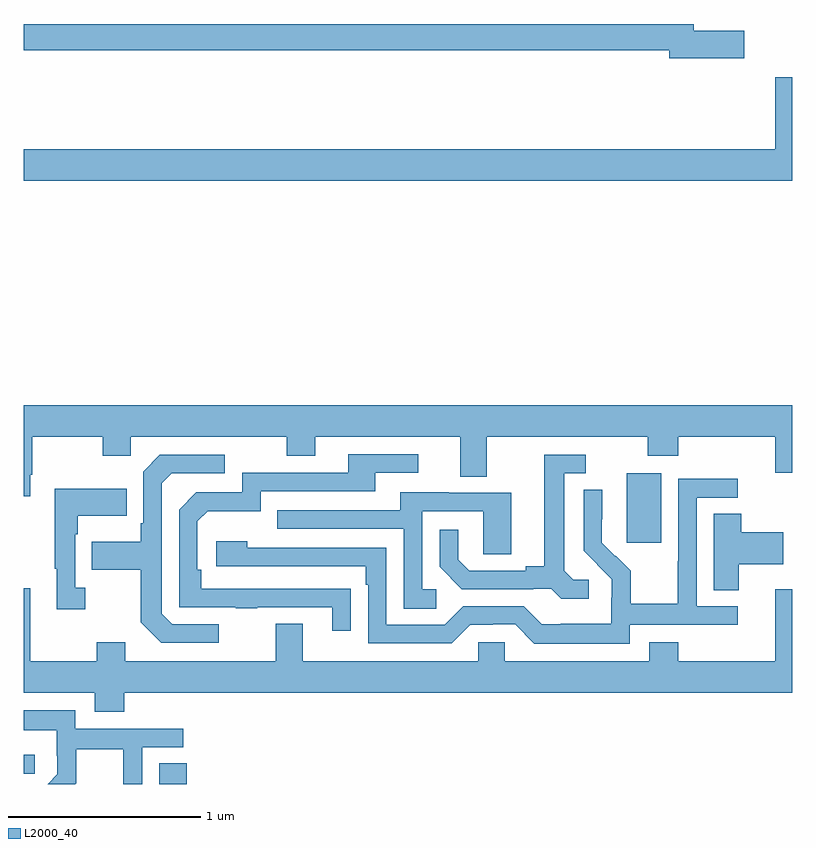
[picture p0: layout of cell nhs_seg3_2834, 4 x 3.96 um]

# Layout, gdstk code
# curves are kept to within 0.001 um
import gdstk
lib = gdstk.Library(unit=1e-6, precision=1e-09)
def R(c, l, rs):  # rectangles x0, y0, x1, y1
    for r in rs: c.add(gdstk.rectangle(r[:2], r[2:], *l))
def P(c, l, *ps):  # polygons
    for p in ps: c.add(gdstk.Polygon(p, *l))
L2000_40 = (2000, 40)

nhs_seg3_2834 = lib.new_cell('nhs_seg3_2834')
R(nhs_seg3_2834, L2000_40, [(257.705,740.4,257.849,740.507), (257,740.454,257.056,740.551), (260.138,741.657,260.317,742.018)])
P(nhs_seg3_2834, L2000_40, [(260.749,744.32),(260.488,744.32),(260.488,744.356),(257,744.356),(257,744.22),(260.36,744.22),(260.36,744.178),(260.749,744.178)],
  [(261,744.079),(260.912,744.079),(260.912,743.704),(257,743.704),(257,743.54),(261,743.54)],
  [(257.035,742.009),(257.043,742.009),(257.043,742.208),(257.41,742.208),(257.41,742.109),(257.556,742.109),(257.556,742.208),(258.37,742.208),(258.37,742.109),(258.517,742.109),(258.517,742.208),(259.271,742.208),(259.271,742),(259.411,742),(259.411,742.208),(260.248,742.208),(260.248,742.109),(260.408,742.109),(260.408,742.208),(260.912,742.208),(260.912,742.02),(261,742.02),(261,742.372),(257,742.372),(257,741.897),(257.035,741.897)],
  [(258.701,741.416),(257.924,741.417),(257.924,741.514),(257.904,741.514),(257.904,741.768),(257.957,741.821),(258.234,741.821),(258.234,741.924),(258.829,741.924),(258.829,742.02),(259.054,742.02),(259.054,742.116),(258.689,742.116),(258.689,742.02),(258.138,742.02),(258.138,741.918),(257.898,741.918),(257.808,741.828),(257.808,741.321),(258.103,741.321),(258.103,741.316),(258.215,741.316),(258.215,741.321),(258.605,741.321),(258.605,741.198),(258.701,741.198)],
  [(258.016,741.231),(257.772,741.231),(257.718,741.285),(257.718,741.966),(257.769,742.017),(258.046,742.017),(258.046,742.113),(257.709,742.113),(257.622,742.026),(257.622,741.757),(257.61,741.757),(257.61,741.661),(257.353,741.661),(257.353,741.514),(257.61,741.514),(257.61,741.241),(257.715,741.135),(258.016,741.135)],
  [(259.942,741.462),(259.86,741.462),(259.813,741.509),(259.813,742.017),(259.924,742.017),(259.924,742.113),(259.709,742.113),(259.709,741.533),(259.613,741.533),(259.613,741.51),(259.318,741.51),(259.261,741.567),(259.261,741.724),(259.164,741.724),(259.164,741.53),(259.28,741.414),(259.652,741.414),(259.652,741.417),(259.746,741.417),(259.798,741.365),(259.942,741.365)],
  [(260.154,741.228),(260.716,741.228),(260.716,741.324),(260.502,741.324),(260.502,741.891),(260.716,741.891),(260.716,741.99),(260.406,741.99),(260.406,741.56),(260.404,741.56),(260.404,741.337),(260.159,741.337),(260.159,741.511),(260.082,741.588),(260.079,741.585),(260.009,741.656),(260.01,741.932),(259.914,741.932),(259.914,741.614),(260.06,741.466),(260.06,741.369),(260.058,741.369),(260.058,741.235),(259.795,741.235),(259.795,741.231),(259.695,741.231),(259.602,741.324),(259.287,741.324),(259.191,741.228),(258.888,741.228),(258.888,741.63),(258.164,741.63),(258.164,741.664),(258.003,741.664),(258.003,741.534),(258.779,741.534),(258.779,741.437),(258.792,741.437),(258.792,741.132),(259.227,741.132),(259.323,741.228),(259.442,741.228),(259.442,741.231),(259.557,741.231),(259.657,741.131),(260.154,741.131)],
  [(257.32,741.422),(257.268,741.422),(257.268,741.701),(257.281,741.701),(257.281,741.797),(257.537,741.797),(257.537,741.937),(257.16,741.937),(257.16,741.521),(257.171,741.521),(257.171,741.309),(257.32,741.309)],
  [(259.147,741.414),(259.074,741.414),(259.074,741.819),(259.392,741.819),(259.392,741.595),(259.537,741.595),(259.537,741.915),(259.213,741.915),(259.213,741.919),(258.959,741.919),(258.959,741.825),(258.319,741.825),(258.319,741.729),(258.978,741.729),(258.978,741.313),(259.147,741.313)],
  [(260.722,741.545),(260.953,741.545),(260.953,741.711),(260.735,741.711),(260.735,741.806),(260.591,741.806),(260.591,741.409),(260.722,741.409)],
  [(257.522,740.876),(261,740.876),(261,741.415),(260.912,741.415),(260.912,741.04),(260.408,741.04),(260.408,741.139),(260.255,741.139),(260.255,741.04),(259.503,741.04),(259.503,741.138),(259.365,741.138),(259.365,741.04),(258.451,741.04),(258.451,741.235),(258.311,741.235),(258.311,741.04),(257.527,741.04),(257.527,741.139),(257.38,741.139),(257.38,741.04),(257.035,741.04),(257.035,741.418),(257,741.418),(257,740.876),(257.369,740.876),(257.369,740.777),(257.522,740.777)],
  [(257.273,740.405),(257.273,740.58),(257.517,740.58),(257.517,740.4),(257.616,740.4),(257.616,740.592),(257.83,740.592),(257.83,740.688),(257.268,740.688),(257.268,740.785),(257,740.785),(257,740.681),(257.172,740.681),(257.172,740.547),(257.174,740.547),(257.174,740.45),(257.124,740.4),(257.268,740.4)])

lib.write_gds('nhs_seg3_2834.gds')
